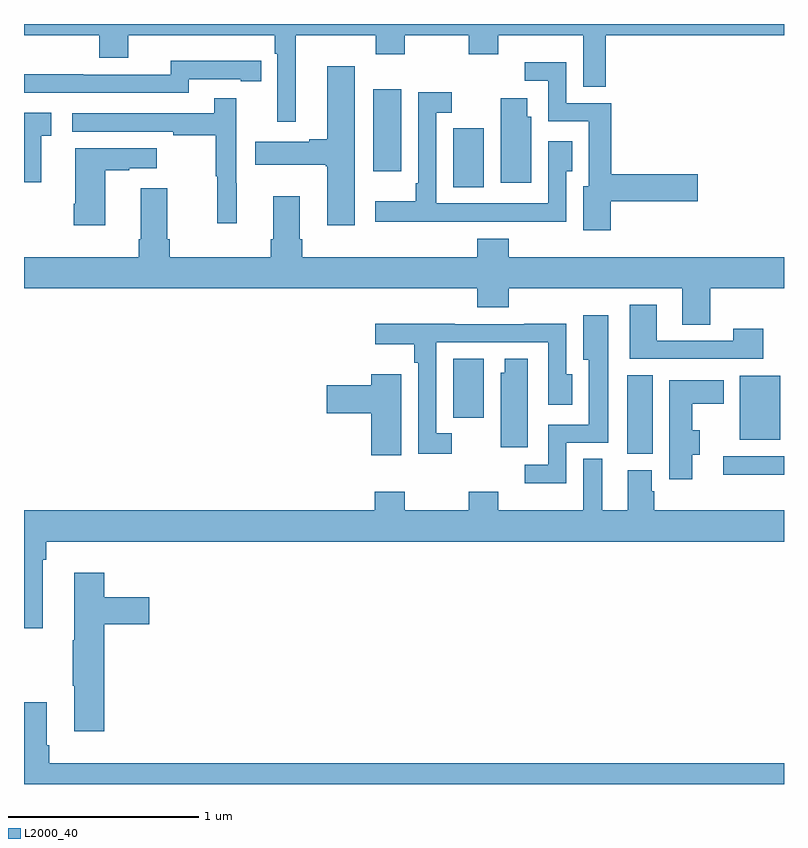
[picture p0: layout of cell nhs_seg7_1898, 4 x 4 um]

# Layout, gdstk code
import gdstk
lib = gdstk.Library(unit=1e-6, precision=1e-09)
def R(c, l, rs):  # rectangles x0, y0, x1, y1
    for r in rs: c.add(gdstk.rectangle(r[:2], r[2:], *l))
def P(c, l, *ps):  # polygons
    for p in ps: c.add(gdstk.Polygon(p, *l))
L2000_40 = (2000, 40)

nhs_seg7_1898 = lib.new_cell('nhs_seg7_1898')
R(nhs_seg7_1898, L2000_40, [(242.679,1007.627,243,1007.724), (242.174,1007.737,242.308,1008.152), (242.768,1007.813,242.98,1008.148), (241.259,1007.928,241.42,1008.239), (241.259,1009.141,241.42,1009.452), (240.839,1009.224,240.985,1009.657)])
P(nhs_seg7_1898, L2000_40, [(239,1009.94),(239.396,1009.94),(239.396,1009.823),(239.548,1009.823),(239.548,1009.94),(240.32,1009.94),(240.32,1009.844),(240.333,1009.844),(240.333,1009.485),(240.43,1009.485),(240.43,1009.94),(240.85,1009.94),(240.85,1009.841),(241.005,1009.841),(241.005,1009.94),(241.342,1009.94),(241.342,1009.841),(241.497,1009.841),(241.497,1009.94),(241.943,1009.94),(241.943,1009.669),(242.062,1009.669),(242.062,1009.94),(243,1009.94),(243,1010),(239,1010)],
  [(239.868,1009.71),(240.14,1009.71),(240.14,1009.698),(240.248,1009.698),(240.248,1009.806),(240.14,1009.806),(240.14,1009.807),(239.772,1009.807),(239.772,1009.734),(239.312,1009.734),(239.312,1009.736),(239,1009.736),(239,1009.638),(239.868,1009.638)],
  [(242.087,1009.066),(242.545,1009.066),(242.545,1009.208),(242.092,1009.208),(242.092,1009.584),(241.854,1009.584),(241.854,1009.798),(241.635,1009.798),(241.635,1009.701),(241.758,1009.701),(241.758,1009.488),(241.973,1009.488),(241.973,1009.147),(241.943,1009.147),(241.943,1008.915),(242.087,1008.915)],
  [(240.742,1009.777),(240.596,1009.777),(240.596,1009.394),(240.5,1009.394),(240.5,1009.381),(240.216,1009.381),(240.216,1009.259),(240.589,1009.259),(240.589,1009.252),(240.596,1009.252),(240.596,1008.942),(240.742,1008.942)],
  [(241.267,1008.96),(241.633,1008.96),(241.633,1008.959),(241.854,1008.959),(241.854,1009.225),(241.885,1009.225),(241.885,1009.384),(241.758,1009.384),(241.758,1009.056),(241.17,1009.056),(241.17,1009.533),(241.252,1009.533),(241.252,1009.642),(241.074,1009.642),(241.074,1009.162),(241.062,1009.162),(241.062,1009.066),(240.849,1009.066),(240.849,1008.959),(241.267,1008.959)],
  [(241.669,1009.512),(241.648,1009.512),(241.648,1009.609),(241.508,1009.609),(241.508,1009.164),(241.669,1009.164)],
  [(240.119,1009.163),(240.117,1009.163),(240.117,1009.609),(240.001,1009.609),(240.001,1009.53),(239.253,1009.53),(239.253,1009.434),(239.785,1009.434),(239.785,1009.414),(240.009,1009.414),(240.009,1009.2),(240.016,1009.2),(240.016,1008.951),(240.119,1008.951)],
  [(239.09,1009.413),(239.143,1009.413),(239.143,1009.534),(239,1009.534),(239,1009.167),(239.09,1009.167)],
  [(239.428,1009.231),(239.555,1009.231),(239.555,1009.241),(239.698,1009.241),(239.698,1009.345),(239.27,1009.345),(239.27,1009.054),(239.263,1009.054),(239.263,1008.942),(239.428,1008.942)],
  [(242.613,1008.608),(243,1008.608),(243,1008.772),(241.55,1008.772),(241.55,1008.871),(241.385,1008.871),(241.385,1008.772),(240.464,1008.772),(240.464,1008.868),(240.451,1008.868),(240.451,1009.093),(240.311,1009.093),(240.311,1008.868),(240.299,1008.868),(240.299,1008.772),(239.768,1008.772),(239.768,1008.868),(239.755,1008.868),(239.755,1009.135),(239.615,1009.135),(239.615,1008.868),(239.603,1008.868),(239.603,1008.772),(239,1008.772),(239,1008.608),(241.385,1008.608),(241.385,1008.509),(241.55,1008.509),(241.55,1008.608),(242.465,1008.608),(242.465,1008.418),(242.613,1008.418)],
  [(242.89,1008.397),(242.734,1008.397),(242.734,1008.333),(242.329,1008.333),(242.329,1008.523),(242.189,1008.523),(242.189,1008.237),(242.89,1008.237)],
  [(241.854,1007.796),(242.074,1007.796),(242.074,1008.466),(241.943,1008.466),(241.943,1008.233),(241.973,1008.233),(241.973,1007.892),(241.758,1007.892),(241.758,1007.679),(241.635,1007.679),(241.635,1007.582),(241.854,1007.582)],
  [(241.252,1007.847),(241.17,1007.847),(241.17,1008.324),(241.758,1008.324),(241.758,1007.997),(241.885,1007.997),(241.885,1008.156),(241.854,1008.156),(241.854,1008.422),(241.633,1008.422),(241.633,1008.42),(241.267,1008.42),(241.267,1008.422),(240.849,1008.422),(240.849,1008.314),(241.054,1008.314),(241.054,1008.218),(241.074,1008.218),(241.074,1007.739),(241.252,1007.739)],
  [(241.651,1008.239),(241.529,1008.239),(241.529,1008.165),(241.508,1008.165),(241.508,1007.772),(241.651,1007.772)],
  [(240.985,1008.157),(240.827,1008.157),(240.827,1008.098),(240.594,1008.098),(240.594,1007.951),(240.827,1007.951),(240.827,1007.73),(240.985,1007.73)],
  [(242.518,1007.734),(242.557,1007.734),(242.557,1007.863),(242.518,1007.863),(242.518,1008.002),(242.683,1008.002),(242.683,1008.124),(242.396,1008.124),(242.396,1007.604),(242.518,1007.604)],
  [(239.098,1007.18),(239.117,1007.18),(239.117,1007.276),(243,1007.276),(243,1007.44),(242.318,1007.44),(242.318,1007.541),(242.305,1007.541),(242.305,1007.652),(242.177,1007.652),(242.177,1007.44),(242.044,1007.44),(242.044,1007.711),(241.943,1007.711),(241.943,1007.44),(241.497,1007.44),(241.497,1007.539),(241.342,1007.539),(241.342,1007.44),(241.005,1007.44),(241.005,1007.539),(240.845,1007.539),(240.845,1007.44),(239,1007.44),(239,1007.18),(239.001,1007.18),(239.001,1006.821),(239.098,1006.821)],
  [(239.423,1006.841),(239.659,1006.841),(239.659,1006.983),(239.423,1006.983),(239.423,1007.113),(239.264,1007.113),(239.264,1006.757),(239.257,1006.757),(239.257,1006.516),(239.264,1006.516),(239.264,1006.278),(239.423,1006.278)],
  [(243,1006.108),(239.132,1006.108),(239.132,1006.204),(239.119,1006.204),(239.119,1006.429),(239,1006.429),(239,1006),(243,1006)])

lib.write_gds('nhs_seg7_1898.gds')
